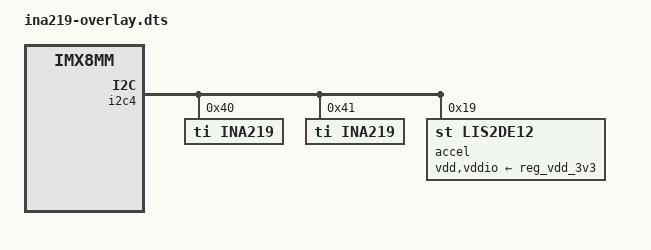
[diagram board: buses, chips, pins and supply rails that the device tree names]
/dts-v1/;
/plugin/;

/*
 * Reserved I2C addresses on i2c4 (Verdin I2C_1):
 * 0x21 - GPIO Expander (PCAL6416)
 * 0x2C - LVDS Bridge (SN65DSI84)
 * 0x40 - INA219 Current Sensor (hwmon)
 * 0x48 - HDMI Bridge (LT8912)
 * 0x49 - ADC
 * 0x4A - Touch Controller (Atmel MaxTouch)
 * 0x4F - Temperature Sensor (TMP75C)
 * 0x50 - Display Adapter EEPROM
 * 0x57 - Carrier Board EEPROM
 *
 * From i2cdetect, these addresses show as in use (UU):
 * 0x40, 0x49, 0x4F, 0x50, 0x57
 */

#include <dt-bindings/gpio/gpio.h>
#include <dt-bindings/interrupt-controller/irq.h>

/ {
	compatible = "toradex,verdin-imx8mm";
};

// Enable &i2c2
&i2c4 {   
	#address-cells = <1>;
	#size-cells = <0>;
	status = "okay";
	
	ina219@40 {
		compatible = "ti,ina219";
		reg = <0x40>;
		status = "okay";
		shunt-resistor = <100000>;
	};

	ina219@41 {
		compatible = "ti,ina219";
		reg = <0x41>;
		status = "okay";
		shunt-resistor = <100000>;
	};

	accel@19 {
		compatible = "st,lis2de12";
		reg = <0x19>;
		status = "okay";
		vdd-supply = <&reg_vdd_3v3>;
		vddio-supply = <&reg_vdd_3v3>;
	};
};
